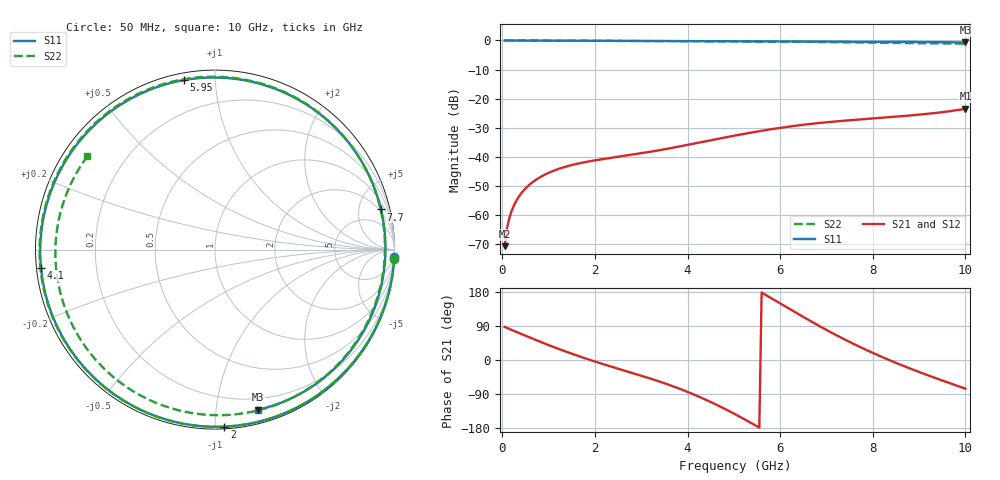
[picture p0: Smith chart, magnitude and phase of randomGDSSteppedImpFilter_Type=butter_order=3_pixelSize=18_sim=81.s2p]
! freq	dB(S11)	phase(S11)	dB(S12)	phase(S12)
!  dB(S21)	phase(S21)	dB(S22)	phase(S22)
!S-par simulation data
#  GHz  S  DB  R 50
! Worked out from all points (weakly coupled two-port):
!   200 points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, 50 MHz to 10 GHz, reference 50 ohm
!   highest |S21| = -23.49 dB at 10 GHz (marker M1); lowest = -70.7 dB at 50 MHz (marker M2)
!   lowest |S11| = -0.7 dB at 10 GHz (marker M3), VSWR 25.09, Z = 5.37 - j65 ohm
!   |S11| at or under -10 dB: nowhere
!   |S22| runs from -1.1 to 0.0 dB; largest |S21 - S12| = 0
!   S11 on the Smith chart (normalised r, x): 50 MHz: 0, -51; 2 GHz: 0.01, -1.05; 4.1 GHz: 0.01, -0.05; 5.95 GHz: 0.03, +0.83; 7.7 GHz: 1.70, +8.03; 10 GHz: 0.11, -1.30
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0.05  -0.00 -2.3  -70.67 87.3  -70.67 87.3  -0.00 -3.0
0.1  -0.00 -4.5  -64.64 84.6  -64.64 84.6  -0.01 -6.0
0.2  -0.01 -9.0  -58.62 79.4  -58.62 79.4  -0.02 -11.9
0.5  -0.03 -22.3  -50.85 64.1  -50.85 64.1  -0.04 -29.6
1.15  -0.06 -50.9  -44.49 32.3  -44.49 32.3  -0.08 -66.7
1.75  -0.10 -76.5  -41.91 6.0  -41.91 6.0  -0.12 -99.2
2  -0.11 -87.0  -41.19 -4.0  -41.19 -4.0  -0.13 -112.1
2.75  -0.14 -118.0  -39.39 -32.1  -39.39 -32.1  -0.17 -149.9
3.4  -0.18 -144.7  -37.68 -57.1  -37.68 -57.1  -0.20 177.7
4.1  -0.22 -174.0  -35.55 -89.1  -35.55 -89.1  -0.25 141.3
4.6  -0.26 164.3  -33.97 -116.6  -33.97 -116.6  -0.29 113.4
5.05  -0.29 143.8  -32.59 -144.5  -32.59 -144.5  -0.33 86.5
5.5  -0.32 122.5  -31.30 -175.0  -31.30 -175.0  -0.37 58.0
5.95  -0.35 100.4  -30.14 153.0  -30.14 153.0  -0.42 28.2
6.3  -0.37 82.8  -29.36 127.9  -29.36 127.9  -0.46 4.7
6.7  -0.39 62.5  -28.60 99.7  -28.60 99.7  -0.52 -22.0
7.2  -0.41 37.6  -27.82 66.3  -27.82 66.3  -0.59 -54.4
7.7  -0.43 13.6  -27.16 35.7  -27.16 35.7  -0.68 -85.1
8.35  -0.47 -15.2  -26.37 0.1  -26.37 0.1  -0.82 -123.0
8.8  -0.51 -33.3  -25.78 -22.2  -25.78 -22.2  -0.91 -148.3
9.2  -0.55 -48.1  -25.17 -40.8  -25.17 -40.8  -0.99 -170.7
10  -0.69 -74.9  -23.49 -75.7  -23.49 -75.7  -1.10 143.9
